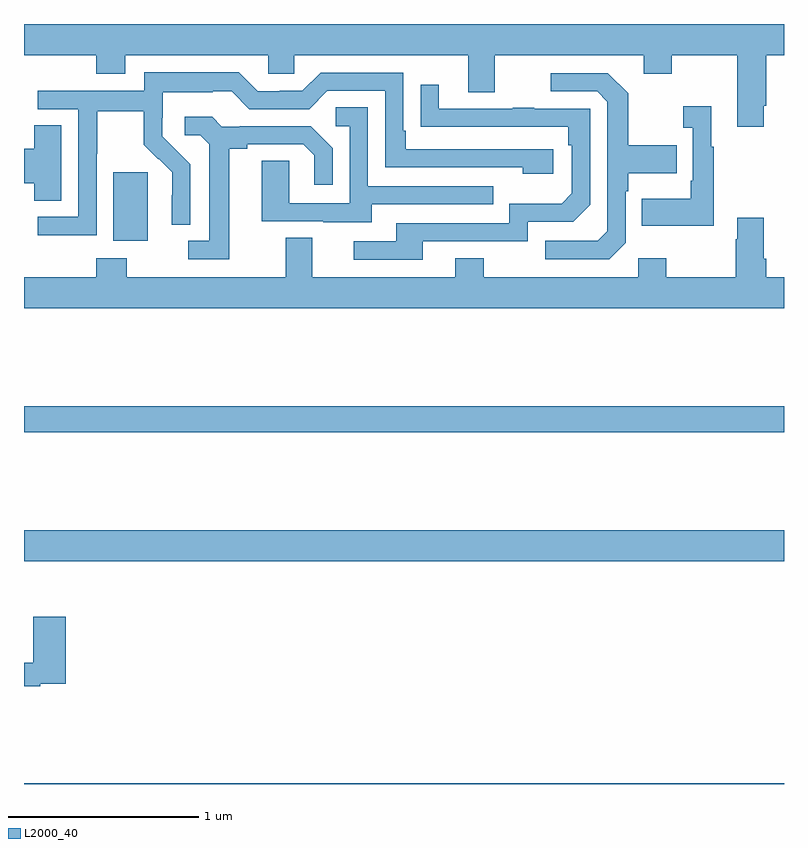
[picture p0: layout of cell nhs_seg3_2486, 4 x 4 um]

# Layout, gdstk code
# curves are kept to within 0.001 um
import gdstk
lib = gdstk.Library(unit=1e-6, precision=1e-09)
def R(c, l, rs):  # rectangles x0, y0, x1, y1
    for r in rs: c.add(gdstk.rectangle(r[:2], r[2:], *l))
def P(c, l, *ps):  # polygons
    for p in ps: c.add(gdstk.Polygon(p, *l))
L2000_40 = (2000, 40)

nhs_seg3_2486 = lib.new_cell('nhs_seg3_2486')
R(nhs_seg3_2486, L2000_40, [(239,710.4,243,710.404), (239,711.572,243,711.736), (239,712.252,243,712.388), (239.471,713.258,239.65,713.619)])
P(nhs_seg3_2486, L2000_40, [(242.893,713.971),(242.906,713.971),(242.906,714.236),(243,714.236),(243,714.4),(239,714.4),(239,714.236),(239.381,714.236),(239.381,714.137),(239.533,714.137),(239.533,714.236),(240.285,714.236),(240.285,714.138),(240.423,714.138),(240.423,714.236),(241.337,714.236),(241.337,714.042),(241.477,714.042),(241.477,714.236),(242.261,714.236),(242.261,714.137),(242.409,714.137),(242.409,714.236),(242.753,714.236),(242.753,713.859),(242.893,713.859)],
  [(239.382,713.716),(239.385,713.716),(239.385,713.94),(239.629,713.94),(239.629,713.765),(239.706,713.688),(239.709,713.691),(239.78,713.621),(239.78,713.498),(239.778,713.498),(239.778,713.344),(239.874,713.344),(239.874,713.662),(239.728,713.81),(239.728,713.907),(239.73,713.907),(239.73,714.041),(239.993,714.041),(239.993,714.045),(240.093,714.045),(240.186,713.952),(240.501,713.952),(240.597,714.048),(240.9,714.048),(240.9,713.646),(241.625,713.646),(241.625,713.612),(241.786,713.612),(241.786,713.742),(241.009,713.742),(241.009,713.839),(240.996,713.839),(240.996,714.144),(240.561,714.144),(240.465,714.048),(240.347,714.048),(240.347,714.045),(240.231,714.045),(240.131,714.145),(239.634,714.145),(239.634,714.048),(239.073,714.048),(239.073,713.952),(239.286,713.952),(239.286,713.385),(239.073,713.385),(239.073,713.287),(239.382,713.287)],
  [(242.166,713.25),(242.166,713.519),(242.179,713.519),(242.179,713.615),(242.435,713.615),(242.435,713.763),(242.179,713.763),(242.179,714.035),(242.073,714.141),(241.773,714.141),(241.773,714.045),(242.016,714.045),(242.07,713.991),(242.07,713.31),(242.019,713.259),(241.743,713.259),(241.743,713.163),(242.079,713.163)],
  [(241.099,713.256),(241.65,713.256),(241.65,713.358),(241.89,713.358),(241.98,713.448),(241.98,713.955),(241.685,713.955),(241.685,713.96),(241.573,713.96),(241.573,713.955),(241.183,713.955),(241.183,714.079),(241.087,714.079),(241.087,713.86),(241.864,713.859),(241.864,713.762),(241.884,713.762),(241.884,713.508),(241.831,713.455),(241.554,713.455),(241.554,713.352),(240.959,713.352),(240.959,713.256),(240.735,713.256),(240.735,713.16),(241.099,713.16)],
  [(242.629,713.755),(242.617,713.755),(242.617,713.968),(242.469,713.968),(242.469,713.855),(242.52,713.855),(242.52,713.575),(242.508,713.575),(242.508,713.479),(242.251,713.479),(242.251,713.339),(242.629,713.339)],
  [(240.829,713.451),(241.469,713.451),(241.469,713.547),(240.81,713.547),(240.81,713.963),(240.642,713.963),(240.642,713.862),(240.714,713.862),(240.714,713.457),(240.396,713.457),(240.396,713.681),(240.251,713.681),(240.251,713.361),(240.575,713.361),(240.575,713.357),(240.829,713.357)],
  [(240.079,713.744),(240.175,713.744),(240.175,713.766),(240.47,713.766),(240.527,713.709),(240.527,713.553),(240.624,713.553),(240.624,713.746),(240.508,713.862),(240.136,713.862),(240.136,713.859),(240.042,713.859),(239.99,713.911),(239.847,713.911),(239.847,713.814),(239.928,713.814),(239.975,713.767),(239.975,713.259),(239.865,713.259),(239.865,713.163),(240.079,713.163)],
  [(239.197,713.867),(239.054,713.867),(239.054,713.744),(239,713.744),(239,713.561),(239.054,713.561),(239.054,713.47),(239.197,713.47)],
  [(243,713.068),(242.906,713.068),(242.906,713.164),(242.893,713.164),(242.893,713.38),(242.753,713.38),(242.753,713.267),(242.746,713.267),(242.746,713.068),(242.379,713.068),(242.379,713.167),(242.232,713.167),(242.232,713.068),(241.419,713.068),(241.419,713.167),(241.271,713.167),(241.271,713.068),(240.517,713.068),(240.517,713.276),(240.377,713.276),(240.377,713.068),(239.541,713.068),(239.541,713.167),(239.381,713.167),(239.381,713.068),(239,713.068),(239,712.904),(243,712.904)],
  [(239.085,710.927),(239.219,710.927),(239.219,711.28),(239.048,711.28),(239.048,711.037),(239,711.037),(239,710.915),(239.085,710.915)])

lib.write_gds('nhs_seg3_2486.gds')
